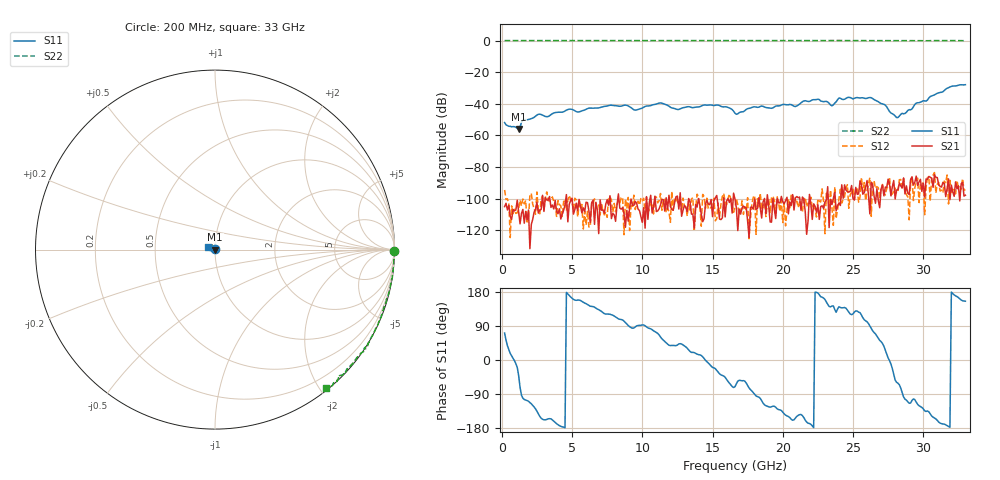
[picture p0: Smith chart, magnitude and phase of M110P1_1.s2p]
# GHZ S RI R 50
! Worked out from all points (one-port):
!   329 points, 200 MHz to 33 GHz, reference 50 ohm
!   lowest |S11| = -55.8 dB at 1.2 GHz (marker M1), VSWR 1.00, Z = 50.1 - j0.107 ohm
!   |S11| at or under -10 dB: start of sweep to end of sweep
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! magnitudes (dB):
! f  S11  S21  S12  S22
! 200 MHz  -51.8  -105.0  -94.4  0.0
! 1.2 GHz  -55.8  -108.1  -106.4  0.0
! 1.5 GHz  -50.3  -106.7  -100.1  0.0
! 2.6 GHz  -46.6  -109.0  -107.3  0.0
! 5.7 GHz  -44.5  -108.8  -103.6  0.0
! 7.7 GHz  -40.9  -98.1  -98.9  0.0
! 9.5 GHz  -44.0  -101.7  -106.8  0.0
! 11.2 GHz  -39.5  -106.3  -101.1  0.0
! 12.5 GHz  -43.6  -98.3  -101.7  0.0
! 15.4 GHz  -40.8  -104.7  -102.6  0.0
! 16.6 GHz  -45.9  -100.2  -105.0  0.0
! 17.9 GHz  -42.0  -106.6  -99.0  0.0
! 20.9 GHz  -41.7  -99.3  -102.3  0.0
! 22.1 GHz  -37.5  -113.0  -105.8  0.0
! 23.5 GHz  -41.2  -103.6  -106.0  0.0
! 24 GHz  -36.3  -102.6  -99.9  0.0
! 26.2 GHz  -36.0  -109.6  -86.6  -0.1
! 27.6 GHz  -44.9  -90.6  -86.5  -0.1
! 28.2 GHz  -48.6  -94.3  -95.6  -0.1
! 29.5 GHz  -39.6  -85.7  -88.6  0.0
! 32 GHz  -29.0  -91.4  -97.0  0.0
! 33 GHz  -27.9  -97.7  -94.3  -0.1
